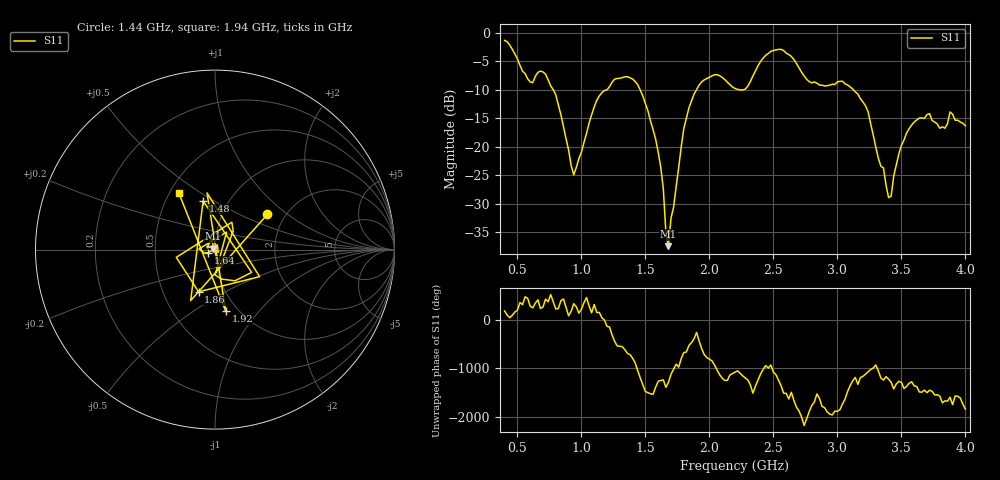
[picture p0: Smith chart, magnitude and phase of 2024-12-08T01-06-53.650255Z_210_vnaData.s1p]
!Created with skrf (http://scikit-rf.org).
# Hz S RI R 50.0
!freq ReS11 ImS11
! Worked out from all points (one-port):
!   181 points, 400 MHz to 4 GHz, reference 50 ohm
!   lowest |S11| = -37.5 dB at 1.68 GHz (marker M1), VSWR 1.03, Z = 48.8 + j0.522 ohm
!   |S11| at or under -10 dB: 780.6 MHz to 1.2 GHz (419 MHz wide, 42.3 % of centre); 1.459 GHz to 1.898 GHz (439.2 MHz wide, 26.2 % of centre); 3.126 GHz to end of sweep (the widest 3 of 4)
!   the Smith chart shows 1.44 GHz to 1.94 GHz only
!   S11 on the Smith chart (normalised r, x): 1.44 GHz: 1.62, +0.72; 1.48 GHz: 0.76, +0.45; 1.64 GHz: 0.93, -0.03; 1.86 GHz: 0.75, -0.38; 1.92 GHz: 0.88, -0.69; 1.94 GHz: 0.56, +0.41
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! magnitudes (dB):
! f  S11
! 400 MHz  -1.3
! 600 MHz  -8.6
! 720 MHz  -7.3
! 860 MHz  -16.5
! 940 MHz  -24.9
! 1.12 GHz  -11.8
! 1.3 GHz  -8.0
! 1.44 GHz  -9.1
! 1.48 GHz  -11.1
! 1.58 GHz  -18.7
! 1.64 GHz  -27.4
! 1.66 GHz  -35.1
! 1.68 GHz  -37.5
! 1.76 GHz  -23.7
! 1.86 GHz  -12.0
! 1.92 GHz  -9.1
! 1.94 GHz  -8.6
! 2.2 GHz  -9.7
! 2.48 GHz  -3.2
! 2.66 GHz  -4.7
! 2.78 GHz  -8.6
! 3.1 GHz  -9.5
! 3.24 GHz  -13.8
! 3.4 GHz  -28.9
! 3.56 GHz  -16.8
! 3.84 GHz  -16.7
! 3.88 GHz  -13.9
! 4 GHz  -16.3
